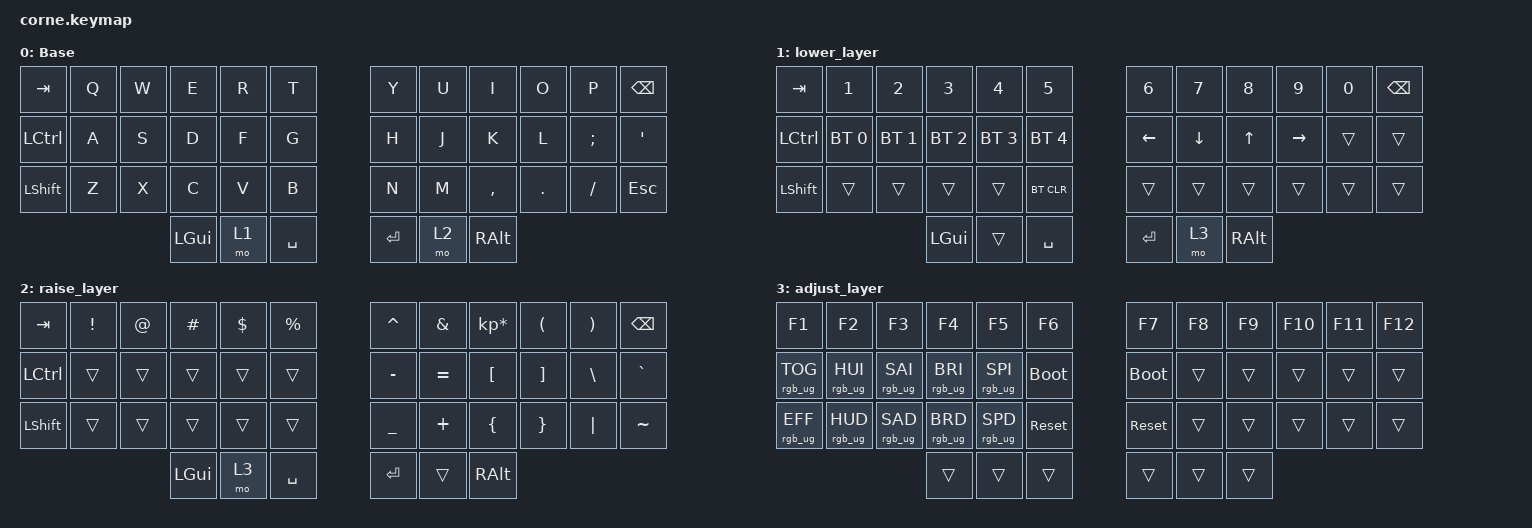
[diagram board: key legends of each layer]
/*
 * Copyright (c) 2020 The ZMK Contributors
 *
 * SPDX-License-Identifier: MIT
 */

#include <behaviors.dtsi>
#include <dt-bindings/zmk/bt.h>
#include <dt-bindings/zmk/keys.h>
#include <dt-bindings/zmk/rgb.h>

/ {
    keymap {
        compatible = "zmk,keymap";

        Base {
            // -----------------------------------------------------------------------------------------
            // |  TAB |  Q  |  W  |  E  |  R  |  T  |   |  Y  |  U   |  I  |  O  |  P  | BKSP |
            // | CTRL |  A  |  S  |  D  |  F  |  G  |   |  H  |  J   |  K  |  L  |  ;  |  '   |
            // | SHFT |  Z  |  X  |  C  |  V  |  B  |   |  N  |  M   |  ,  |  .  |  /  | ESC  |
            //                    | GUI | LWR | SPC |   | ENT | RSE  | ALT |

            bindings = <
&kp TAB    &kp Q           &kp W           &kp E            &kp R     &kp T        &kp Y      &kp U  &kp I      &kp O    &kp P     &kp BSPC
&kp LCTRL  &kp A           &kp S           &kp D            &kp F     &kp G        &kp H      &kp J  &kp K      &kp L    &kp SEMI  &kp SQT
&kp LSHFT  &kp Z           &kp X           &kp C            &kp V     &kp B        &kp N      &kp M  &kp COMMA  &kp DOT  &kp FSLH  &kp ESC
                                           &kp LGUI         &mo 1     &kp SPACE    &kp ENTER  &mo 2  &kp RALT
            >;
        };

        lower_layer {
            // -----------------------------------------------------------------------------------------
            // |  TAB |  1  |  2  |  3  |  4  |  5  |   |  6  |  7  |  8  |  9  |  0  | BKSP |
            // | BTCLR| BT1 | BT2 | BT3 | BT4 | BT5 |   | LFT | DWN |  UP | RGT |     |      |
            // | SHFT |     |     |     |     |     |   |     |     |     |     |     |      |
            //                    | GUI |     | SPC |   | ENT |     | ALT |

            bindings = <
&kp TAB    &kp N1        &kp N2        &kp N3        &kp N4        &kp N5          &kp N6    &kp N7    &kp N8    &kp N9     &kp N0  &kp BSPC
&kp LCTRL  &bt BT_SEL 0  &bt BT_SEL 1  &bt BT_SEL 2  &bt BT_SEL 3  &bt BT_SEL 4    &kp LEFT  &kp DOWN  &kp UP    &kp RIGHT  &trans  &trans
&kp LSHFT  &trans        &trans        &trans        &trans        &bt BT_CLR      &trans    &trans    &trans    &trans     &trans  &trans
                                       &kp LGUI      &trans        &kp SPACE       &kp RET   &mo 3     &kp RALT
            >;
        };

        raise_layer {
            // -----------------------------------------------------------------------------------------
            // |  TAB |  !  |  @  |  #  |  $  |  %  |   |  ^  |  &  |  *  |  (  |  )  | BKSP |
            // | CTRL |     |     |     |     |     |   |  -  |  =  |  [  |  ]  |  \  |  `   |
            // | SHFT |     |     |     |     |     |   |  _  |  +  |  {  |  }  | "|" |  ~   |
            //                    | GUI |     | SPC |   | ENT |     | ALT |

            bindings = <
&kp TAB    &kp EXCL  &kp AT  &kp HASH  &kp DLLR  &kp PRCNT    &kp CARET  &kp AMPS   &kp KP_MULTIPLY  &kp LPAR  &kp RPAR  &kp BSPC
&kp LCTRL  &trans    &trans  &trans    &trans    &trans       &kp MINUS  &kp EQUAL  &kp LBKT         &kp RBKT  &kp BSLH  &kp GRAVE
&kp LSHFT  &trans    &trans  &trans    &trans    &trans       &kp UNDER  &kp PLUS   &kp LBRC         &kp RBRC  &kp PIPE  &kp TILDE
                             &kp LGUI  &mo 3     &kp SPACE    &kp RET    &trans     &kp RALT
            >;
        };

        adjust_layer {
            // -----------------------------------------------------------------------------------------
            // | F1  | F2  | F3  | F4  | F5  | F6  |   | F7  | F8  | F9  | F10 | F11 | F12 |
            // | RGB | HUI | SAI | BRI | SPI | BTLDR |   | BTLDR |     |     |     |     |     |
            // | TOG | HUD | SAD | BRD | SPD | RST |   | RST |     |     |     |     |     |
            //                   |     |     |     |   |     |     |     |

            bindings = <
&kp F1           &kp F2           &kp F3           &kp F4           &kp F5           &kp F6         &kp F7         &kp F8  &kp F9  &kp F10  &kp F11  &kp F12
&rgb_ug RGB_TOG  &rgb_ug RGB_HUI  &rgb_ug RGB_SAI  &rgb_ug RGB_BRI  &rgb_ug RGB_SPI  &bootloader    &bootloader    &trans  &trans  &trans   &trans   &trans
&rgb_ug RGB_EFF  &rgb_ug RGB_HUD  &rgb_ug RGB_SAD  &rgb_ug RGB_BRD  &rgb_ug RGB_SPD  &sys_reset     &sys_reset     &trans  &trans  &trans   &trans   &trans
                                                   &trans           &trans           &trans         &trans         &trans  &trans
            >;
        };
    };
};
